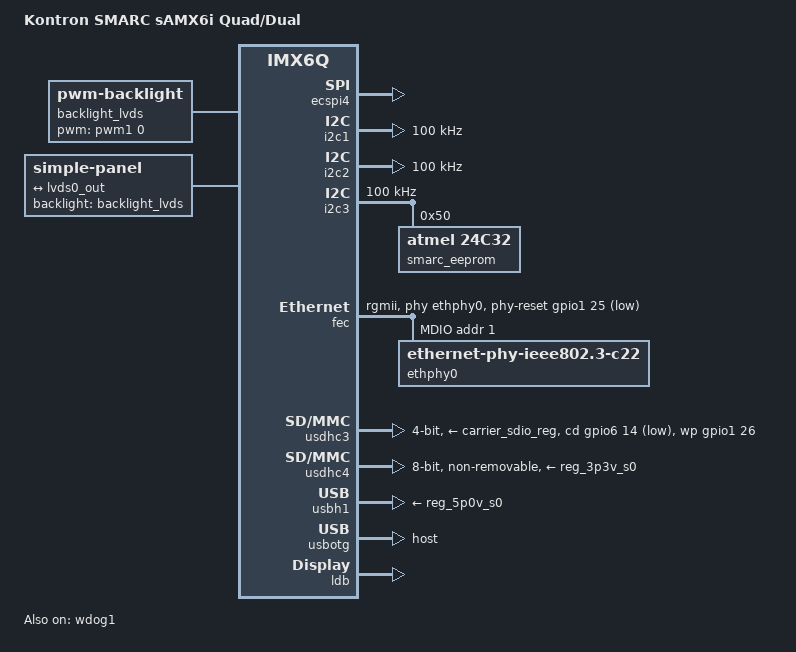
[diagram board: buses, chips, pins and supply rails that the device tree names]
// SPDX-License-Identifier: (GPL-2.0+ OR MIT)
/*
 * Copyright 2021 Kontron Europe GmbH
 *
 */

/dts-v1/;


#include "imx6q.dtsi"
#include "imx6qdl-smx6.dtsi"
#include <dt-bindings/gpio/gpio.h>

/ {
	model = "Kontron SMARC sAMX6i Quad/Dual";
	compatible = "kontron,imx6q-samx6i", "fsl,imx6q";

	chosen {
		stdout-path = &uart1;
	};

	aliases {
		spi0 = &ecspi4;
		mmc0 = &usdhc4;
		mmc1 = &usdhc3;
	};

	soc {
		u-boot,dm-spl;
		aips-bus@2000000 {
			u-boot,dm-spl;
			compatible = "fsl,aips-bus", "simple-bus";
			spba-bus@2000000 {
				u-boot,dm-spl;
				compatible = "fsl,spba-bus", "simple-bus";
			};

			gpio@20a4000 {
				u-boot,dm-spl;
				compatible = "fsl,imx6q-gpio", "fsl,imx35-gpio";
			};
		};
	};

	wdt-reboot {
		u-boot,dm-spl;
		compatible = "wdt-reboot";
		wdt = <&wdog1>;
	};

	backlight_lvds: backlight-lvds {
		compatible = "pwm-backlight";
		pwms = <&pwm1 0 5000000>;
		brightness-levels = <0 4 8 16 32 64 128 255>;
		default-brightness-level = <7>;
		status = "okay";
	};

	panel {
		compatible = "simple-panel";
		backlight = <&backlight_lvds>;

		port {
			panel_in: endpoint {
				remote-endpoint = <&lvds0_out>;
			};
		};
	};
};


/* SPI0 */
&ecspi4 {
	u-boot,dm-spl;
	pinctrl-names = "default";
	pinctrl-0 = <&pinctrl_ecspi4>;
	fsl,spi-num-chipselects = <3>;
	cs-gpios = <&gpio3 24 GPIO_ACTIVE_HIGH>, /* ECSPI4_SS2 */
		   <&gpio3 29 GPIO_ACTIVE_HIGH>, /* ECSPI4_SS0 */
		   <&gpio3 25 GPIO_ACTIVE_HIGH>; /* ECSPI4_SS3 */
	status = "okay";
#if 0
	/* default boot source: workaround #1 for errata ERR006282 */
	flash: spi-flash@0 {
		u-boot,dm-spl;
		compatible = "jedec,spi-nor";
		reg = <0>;
		spi-max-frequency = <20000000>;
	};
#endif
};


/* I2C mapping:
 * - IMX i2c3 is not available for SMX6_PTP case
 */
&i2c1 {
	clock-frequency = <100000>;
	pinctrl-names = "default";
	pinctrl-0 = <&pinctrl_i2c1>;
	status = "okay";
};

&i2c2 {
	clock-frequency = <100000>;
	pinctrl-names = "default";
	pinctrl-0 = <&pinctrl_i2c1>;
	status = "okay";
};

&i2c3 {
	clock-frequency = <100000>;
	pinctrl-names = "default";
	pinctrl-0 = <&pinctrl_i2c1>;
	status = "okay";

	smarc_eeprom: eeprom@50 {
		compatible = "atmel,24c32";
		reg = <0x50>;
		pagesize = <32>;
	};
};

/* GBE */
&fec {
	pinctrl-names = "default";
	pinctrl-0 = <&pinctrl_enet>;
	phy-mode = "rgmii";
	phy-handle = <&ethphy0>;
	phy-reset-gpios = <&gpio1 25 GPIO_ACTIVE_LOW>;
	phy-reset-duration = <10>;
	phy-reset-post-delay = <1>;
	fsl,magic-packet;
	status = "okay";

	mdio {
		#address-cells = <1>;
		#size-cells = <0>;

		ethphy0: ethernet-phy@1 {
			compatible = "ethernet-phy-ieee802.3-c22";
			reg = <1>;
		};
	};
};


/* SDIO */
&usdhc3 {
	pinctrl-names = "default";
	pinctrl-0 = <&pinctrl_usdhc3>;
	cd-gpios = <&gpio6 14 GPIO_ACTIVE_LOW>;
	wp-gpios = <&gpio1 26 GPIO_ACTIVE_HIGH>;
	bus-width = <4>;
	vmmc-supply = <&carrier_sdio_reg>;
	no-1-8-v;

	status = "okay";
};

/* SDMMC */
&usdhc4 {
	/* Internal eMMC */
	pinctrl-names = "default";
	pinctrl-0 = <&pinctrl_usdhc4>;
	bus-width = <8>;
	no-sdio;
	no-sd;
	non-removable;
	vmmc-supply = <&reg_3p3v_s0>;
	/* vqmmc-supply = <&reg_1p8v_s0>; */

	status = "okay";
};

&usbh1 {
	vbus-supply = <&reg_5p0v_s0>;
	status = "okay";
};

&usbotg {
	pinctrl-names = "default";
	pinctrl-0 = <&pinctrl_usbotg>;
	disable-over-current;
	dr_mode = "host";
	status = "okay";
};

&snvs_poweroff {
	status = "okay";
};


&ipu1 {
	use-ipu-clock;
};

&wdog1 {
	u-boot,dm-spl;
	/* CPLD is feeded by watchdog (hardwired) */
	pinctrl-names = "default";
	pinctrl-0 = <&pinctrl_wdog1>;
	status = "okay";
};

&ldb {
	status = "okay";

	lvds-channel@1 {
		fsl,data-mapping = "spwg";
		fsl,data-width = <18>;
		status = "okay";

		port@4 {
			reg = <4>;

			lvds0_out: endpoint {
				remote-endpoint = <&panel_in>;
			};
		};
	};
};
